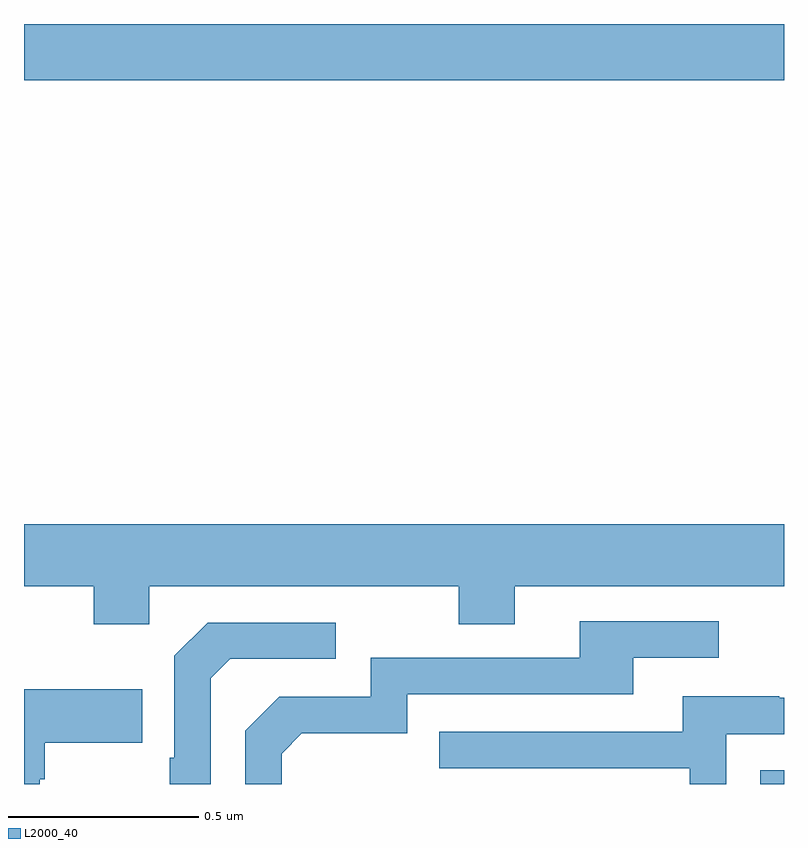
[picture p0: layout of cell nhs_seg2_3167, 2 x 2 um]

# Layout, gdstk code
import gdstk
lib = gdstk.Library(unit=1e-6, precision=1e-09)
def R(c, l, rs):  # rectangles x0, y0, x1, y1
    for r in rs: c.add(gdstk.rectangle(r[:2], r[2:], *l))
def P(c, l, *ps):  # polygons
    for p in ps: c.add(gdstk.Polygon(p, *l))
L2000_40 = (2000, 40)

nhs_seg2_3167 = lib.new_cell('nhs_seg2_3167')
R(nhs_seg2_3167, L2000_40, [(151.938,629.8,152,629.836), (150,631.652,152,631.8)])
P(nhs_seg2_3167, L2000_40, [(150.33,630.32),(151.144,630.32),(151.144,630.221),(151.291,630.221),(151.291,630.32),(152,630.32),(152,630.484),(150,630.484),(150,630.32),(150.184,630.32),(150.184,630.221),(150.33,630.221)],
  [(150.678,629.88),(150.731,629.933),(151.008,629.933),(151.008,630.036),(151.603,630.036),(151.603,630.132),(151.828,630.132),(151.828,630.228),(151.463,630.228),(151.463,630.132),(150.912,630.132),(150.912,630.03),(150.672,630.03),(150.582,629.94),(150.582,629.8),(150.678,629.8)],
  [(150.492,630.078),(150.543,630.129),(150.82,630.129),(150.82,630.225),(150.483,630.225),(150.396,630.138),(150.396,629.869),(150.384,629.869),(150.384,629.8),(150.492,629.8)],
  [(150.042,629.813),(150.055,629.813),(150.055,629.909),(150.311,629.909),(150.311,630.049),(150,630.049),(150,629.8),(150.042,629.8)],
  [(151.848,629.931),(152,629.931),(152,630.027),(151.987,630.027),(151.987,630.031),(151.733,630.031),(151.733,629.937),(151.093,629.937),(151.093,629.841),(151.752,629.841),(151.752,629.8),(151.848,629.8)])

lib.write_gds('nhs_seg2_3167.gds')
